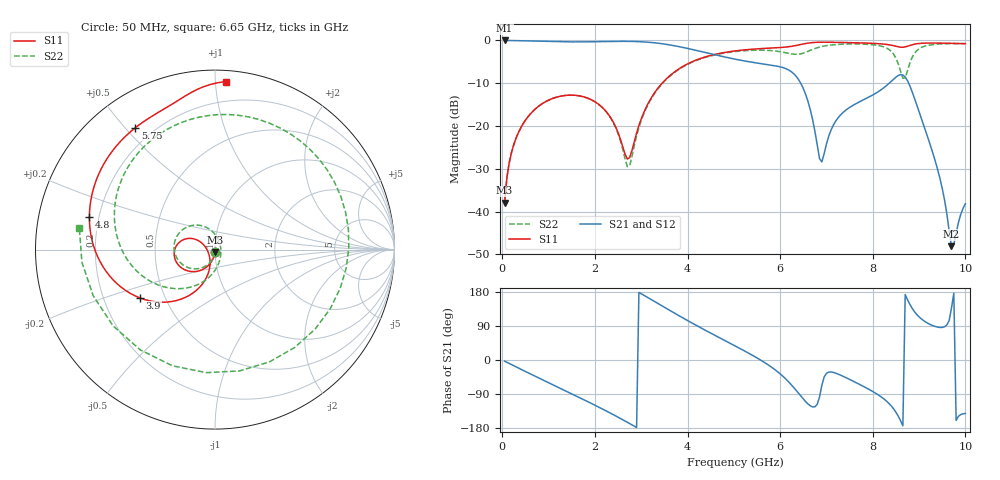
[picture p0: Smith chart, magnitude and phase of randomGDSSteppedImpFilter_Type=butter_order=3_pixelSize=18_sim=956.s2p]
! freq	dB(S11)	phase(S11)	dB(S12)	phase(S12)
!  dB(S21)	phase(S21)	dB(S22)	phase(S22)
!S-par simulation data
#  GHz  S  DB  R 50
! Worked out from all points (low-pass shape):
!   200 points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, 50 MHz to 10 GHz, reference 50 ohm
!   highest |S21| = -0.01 dB at 50 MHz (marker M1); lowest = -48.1 dB at 9.7 GHz (marker M2)
!   |S21| within 3 dB of the highest: start of sweep to 4.455 GHz
!   lowest |S11| = -38.0 dB at 50 MHz (marker M3), VSWR 1.03, Z = 50 - j1.26 ohm
!   |S11| at or under -10 dB: start of sweep to 3.452 GHz
!   |S22| runs from -38.0 to -0.7 dB; largest |S21 - S12| = 0
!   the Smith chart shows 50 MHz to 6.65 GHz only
!   S11 on the Smith chart (normalised r, x): 50 MHz: 1.00, -0.03; 3.9 GHz: 0.36, -0.26; 4.8 GHz: 0.16, +0.12; 5.75 GHz: 0.13, +0.53; 6.65 GHz: 0.07, +1.06
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0.05  -37.97 -91.2  -0.01 -3.1  -0.01 -3.1  -37.98 -91.7
0.55  -17.91 -121.0  -0.12 -33.3  -0.12 -33.3  -17.92 -126.6
1.75  -13.17 176.4  -0.34 -104.1  -0.34 -104.1  -13.18 154.5
2.7  -27.74 -165.7  -0.22 -164.3  -0.22 -164.3  -29.51 20.1
3.4  -10.64 -119.5  -0.70 146.4  -0.70 146.4  -10.78 -131.2
3.9  -6.08 -147.1  -1.64 111.0  -1.64 111.0  -6.19 -173.1
4.8  -2.82 165.6  -3.86 51.7  -3.86 51.7  -2.95 116.8
5.05  -2.42 153.7  -4.43 35.7  -4.43 35.7  -2.58 97.0
5.75  -1.82 123.1  -5.68 -13.5  -5.68 -13.5  -2.33 29.4
6.05  -1.63 111.6  -6.32 -41.8  -6.32 -41.8  -2.73 -17.2
6.3  -1.28 102.6  -7.85 -73.5  -7.85 -73.5  -3.23 -78.6
6.65  -0.56 86.4  -16.16 -120.8  -16.16 -120.8  -2.33 171.1
6.7  -0.50 83.7  -18.45 -123.8  -18.45 -123.8  -2.10 157.9
6.9  -0.41 73.4  -28.41 -67.0  -28.41 -67.0  -1.43 115.3
7.2  -0.45 59.0  -18.86 -34.7  -18.86 -34.7  -0.97 72.5
7.85  -0.62 29.7  -13.61 -72.9  -13.61 -72.9  -0.89 11.2
8.35  -1.02 7.6  -10.06 -114.7  -10.06 -114.7  -2.12 -45.0
8.65  -1.60 -0.7  -8.08 -173.6  -8.08 -173.6  -8.83 -165.4
8.85  -1.00 -5.9  -12.00 136.5  -12.00 136.5  -3.95 64.4
9.15  -0.63 -20.1  -21.43 99.7  -21.43 99.7  -1.26 8.5
9.7  -0.68 -44.0  -48.10 137.5  -48.10 137.5  -0.74 -31.3
10  -0.77 -56.5  -38.18 -141.1  -38.18 -141.1  -0.74 -45.8
